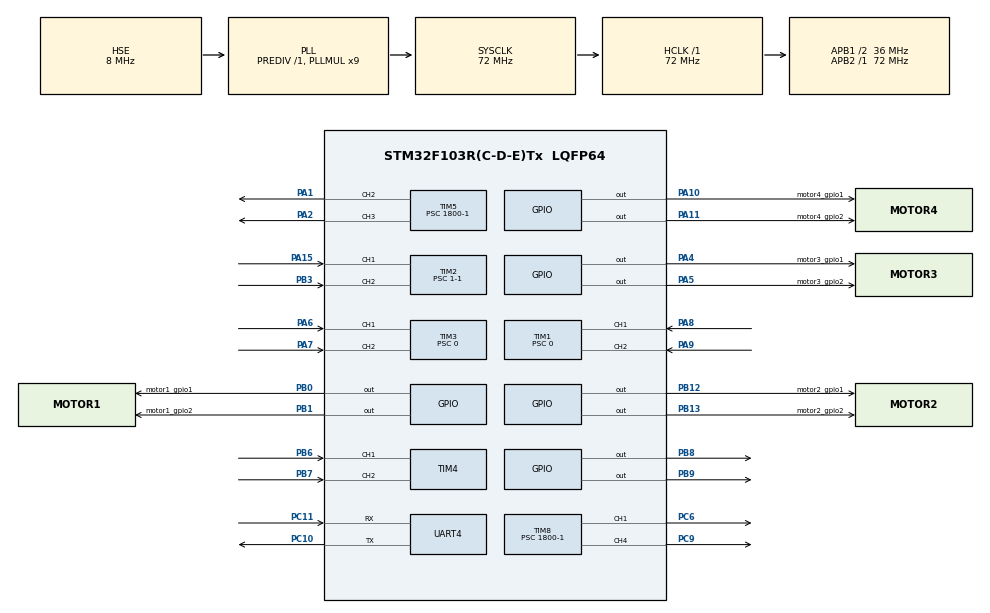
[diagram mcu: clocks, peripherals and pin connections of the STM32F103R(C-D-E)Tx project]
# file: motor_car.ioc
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Mcu.Family=STM32F1
Mcu.Name=STM32F103R(C-D-E)Tx
Mcu.Package=LQFP64
NVIC.PriorityGroup=NVIC_PRIORITYGROUP_4
NVIC.TIM3_IRQn=true\:0\:0\:false\:false\:true\:true\:true\:true
NVIC.TIM6_IRQn=true\:0\:0\:false\:false\:true\:true\:true\:true
NVIC.TIM8_BRK_IRQn=true\:0\:0\:false\:false\:true\:true\:true\:true
NVIC.TIM8_CC_IRQn=true\:0\:0\:false\:false\:true\:true\:true\:true
NVIC.TIM8_TRG_COM_IRQn=true\:0\:0\:false\:false\:true\:true\:true\:true
NVIC.TIM8_UP_IRQn=true\:0\:0\:false\:false\:true\:true\:true\:true
NVIC.UART4_IRQn=true\:0\:0\:false\:false\:true\:true\:true\:true
PA0-WKUP.Mode=SYS_WakeUp0
PA0-WKUP.Signal=SYS_WKUP
PA1.Signal=S_TIM5_CH2
PA10.GPIO_Label=motor4_gpio1
PA10.Signal=GPIO_Output
PA11.GPIO_Label=motor4_gpio2
PA11.Signal=GPIO_Output
PA13.Mode=Serial_Wire
PA13.Signal=SYS_JTMS-SWDIO
PA14.Mode=Serial_Wire
PA14.Signal=SYS_JTCK-SWCLK
PA15.Signal=S_TIM2_CH1_ETR
PA2.Signal=S_TIM5_CH3
PA4.GPIO_Label=motor3_gpio1
PA4.Signal=GPIO_Output
PA5.GPIO_Label=motor3_gpio2
PA5.Signal=GPIO_Output
PA6.Signal=S_TIM3_CH1
PA7.Signal=S_TIM3_CH2
PA8.Signal=S_TIM1_CH1
PA9.Signal=S_TIM1_CH2
PB0.GPIO_Label=motor1_gpio1
PB0.Signal=GPIO_Output
PB1.GPIO_Label=motor1_gpio2
PB1.Signal=GPIO_Output
PB12.GPIO_Label=motor2_gpio1
PB12.Signal=GPIO_Output
PB13.GPIO_Label=motor2_gpio2
PB13.Signal=GPIO_Output
PB3.Signal=S_TIM2_CH2
PB6.Signal=S_TIM4_CH1
PB7.Signal=S_TIM4_CH2
PB8.PinState=GPIO_PIN_SET
PB8.Signal=GPIO_Output
PB9.PinState=GPIO_PIN_SET
PB9.Signal=GPIO_Output
PC10.Mode=Asynchronous
PC10.Signal=UART4_TX
PC11.Mode=Asynchronous
PC11.Signal=UART4_RX
PC6.Signal=S_TIM8_CH1
PC9.Signal=S_TIM8_CH4
PD0-OSC_IN.Mode=HSE-External-Oscillator
PD0-OSC_IN.Signal=RCC_OSC_IN
PD1-OSC_OUT.Mode=HSE-External-Oscillator
PD1-OSC_OUT.Signal=RCC_OSC_OUT
ProjectManager.HeapSize=0x200
ProjectManager.StackSize=0x400
ProjectManager.TargetToolchain=MDK-ARM V5.27
RCC.AHBFreq_Value=72000000
RCC.APB1CLKDivider=RCC_HCLK_DIV2
RCC.APB1Freq_Value=36000000
RCC.APB1TimFreq_Value=72000000
RCC.APB2Freq_Value=72000000
RCC.APB2TimFreq_Value=72000000
RCC.HCLKFreq_Value=72000000
RCC.PLLMUL=RCC_PLL_MUL9
RCC.PLLSourceVirtual=RCC_PLLSOURCE_HSE
RCC.SYSCLKFreq_VALUE=72000000
RCC.SYSCLKSource=RCC_SYSCLKSOURCE_PLLCLK
RCC.USBFreq_Value=72000000
SH.S_TIM1_CH1.0=TIM1_CH1,Encoder_Interface
SH.S_TIM1_CH2.0=TIM1_CH2,Encoder_Interface
SH.S_TIM2_CH1_ETR.0=TIM2_CH1,Encoder_Interface
SH.S_TIM2_CH2.0=TIM2_CH2,Encoder_Interface
SH.S_TIM3_CH1.0=TIM3_CH1,Encoder_Interface
SH.S_TIM3_CH2.0=TIM3_CH2,Encoder_Interface
SH.S_TIM4_CH1.0=TIM4_CH1,Encoder_Interface
SH.S_TIM4_CH2.0=TIM4_CH2,Encoder_Interface
SH.S_TIM5_CH2.0=TIM5_CH2,PWM Generation2 CH2
SH.S_TIM5_CH3.0=TIM5_CH3,PWM Generation3 CH3
SH.S_TIM8_CH1.0=TIM8_CH1,PWM Generation1 CH1
SH.S_TIM8_CH4.0=TIM8_CH4,PWM Generation4 CH4
TIM1.EncoderMode=TIM_ENCODERMODE_TI12
TIM1.Period=65535-1
TIM1.Prescaler=0
TIM2.EncoderMode=TIM_ENCODERMODE_TI12
TIM2.Period=65535-1
TIM2.Prescaler=1-1
TIM3.EncoderMode=TIM_ENCODERMODE_TI12
TIM3.Period=65535-1
TIM3.Prescaler=0
TIM4.EncoderMode=TIM_ENCODERMODE_TI12
TIM5.Channel-PWM\ Generation2\ CH2=TIM_CHANNEL_2
TIM5.Channel-PWM\ Generation3\ CH3=TIM_CHANNEL_3
TIM5.Period=100-1
TIM5.Prescaler=1800-1
TIM5.Pulse-PWM\ Generation2\ CH2=30
TIM5.Pulse-PWM\ Generation3\ CH3=30
TIM6.Period=100-1
TIM6.Prescaler=4500-1
TIM8.Channel-PWM\ Generation1\ CH1=TIM_CHANNEL_1
TIM8.Channel-PWM\ Generation4\ CH4=TIM_CHANNEL_4
TIM8.Period=100-1
TIM8.Prescaler=1800-1
TIM8.Pulse-PWM\ Generation1\ CH1=20
TIM8.Pulse-PWM\ Generation4\ CH4=20
UART4.VirtualMode=Asynchronous
VP_TIM5_VS_ClockSourceINT.Mode=Internal
VP_TIM6_VS_ClockSourceINT.Mode=Enable_Timer
VP_TIM8_VS_ClockSourceINT.Mode=Internal
board=custom

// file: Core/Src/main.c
/* USER CODE BEGIN Header */
/**
  ******************************************************************************
  * @file           : main.c
  * @brief          : Main program body
  ******************************************************************************
  * @attention
  *
  * Copyright (c) 2024 STMicroelectronics.
  * All rights reserved.
  *
  * This software is licensed under terms that can be found in the LICENSE file
  * in the root directory of this software component.
  * If no LICENSE file comes with this software, it is provided AS-IS.
  *
  ******************************************************************************
  */
/* USER CODE END Header */
#include "main.h"
#include "tim.h"
#include "usart.h"
#include "gpio.h"

/* USER CODE BEGIN Includes */
#include "PID.h"
#include "motor.h"
#include "buletooth.h"
#include "oled.h"
#include <stdio.h>
/* USER CODE END Includes */

/* USER CODE BEGIN PTD */
extern chassis_Motor chassis_motor[4];
extern BlueTooth bluetooth;
extern uint8_t Flag;
uint16_t show_counter=0;
INIT_STATUS init_status=DONE;
/* USER CODE END PTD */

void SystemClock_Config(void);

int main(void)
{

  /* MCU Configuration--------------------------------------------------------*/

  /* Reset of all peripherals, Initializes the Flash interface and the Systick. */
  HAL_Init();

  /* Configure the system clock */
  SystemClock_Config();

  /* Initialize all configured peripherals */
  MX_GPIO_Init();
  MX_TIM1_Init();
  MX_TIM2_Init();
  MX_TIM3_Init();
  MX_TIM4_Init();
  MX_TIM5_Init();
  MX_TIM8_Init();
  MX_UART4_Init();
  MX_TIM6_Init();
  /* USER CODE BEGIN 2 */
    OLED_Init();
    HAL_TIM_Base_Start_IT(&htim6);
	HAL_TIM_Base_Start_IT(&htim8);

	HAL_TIM_PWM_Start(&htim5,TIM_CHANNEL_2);
	HAL_TIM_PWM_Start(&htim5,TIM_CHANNEL_3);
	HAL_TIM_PWM_Start(&htim8,TIM_CHANNEL_1);
	HAL_TIM_PWM_Start(&htim8,TIM_CHANNEL_4);
	HAL_TIM_Encoder_Start(&htim1,TIM_CHANNEL_1|TIM_CHANNEL_2);
	HAL_TIM_Encoder_Start(&htim2,TIM_CHANNEL_1|TIM_CHANNEL_2);
	HAL_TIM_Encoder_Start(&htim3,TIM_CHANNEL_1|TIM_CHANNEL_2);
	HAL_TIM_Encoder_Start(&htim4,TIM_CHANNEL_1|TIM_CHANNEL_2);
	clear_PID();
    PID_Struct_Init(&chassis_motor[0].pid,3.1f, 0.00025f, 5.0f,1000,900,init_status);  //
	PID_Struct_Init(&chassis_motor[1].pid,2.1F, 0.00025f, 5.0f,1000,900,init_status);
	PID_Struct_Init(&chassis_motor[2].pid,3.1F, 0.00025f, 5.0f,1000,900,init_status);
	PID_Struct_Init(&chassis_motor[3].pid,2.1F, 0.00025f, 5.0f,1000,900,init_status);
	HAL_UART_Receive_IT(&huart4,&bluetooth.RxByte,1);
	chassis_motor[0].set_angle_speed=0;         //0-575mm/s  //实际上负载最大420，电压不够
	chassis_motor[1].set_angle_speed=0;
	chassis_motor[2].set_angle_speed=0;
	chassis_motor[3].set_angle_speed=0;
	OLED_Clear();
  /* USER CODE END 2 */

  /* Infinite loop */
  /* USER CODE BEGIN WHILE */
  while (1)
  {
	 chassis_movememt();
	  if(Flag)
	  {
	     Encoder_Speed();
		 show_counter++;
	     Flag=0;
       }
	if(show_counter>18)
		{
		     OLED_ShowString(1,2, "M1_speed:");
		OLED_ShowSignedNum(1,11,-chassis_motor[0].real_angle_speed,3);
			 OLED_ShowString(2,2, "M2_speed:");
		OLED_ShowSignedNum(2,11,-chassis_motor[1].real_angle_speed,3);
			 OLED_ShowString(3,2, "M3_speed:");
		OLED_ShowSignedNum(3,11,-chassis_motor[2].real_angle_speed,3);
			 OLED_ShowString(4,2, "M4_speed:");
		OLED_ShowSignedNum(4,11,-chassis_motor[3].real_angle_speed,3);
			show_counter=0;
		}

    /* USER CODE END WHILE */

  }
}

void SystemClock_Config(void)
{
  RCC_OscInitTypeDef RCC_OscInitStruct = {0};
  RCC_ClkInitTypeDef RCC_ClkInitStruct = {0};

  /** Initializes the RCC Oscillators according to the specified parameters
  * in the RCC_OscInitTypeDef structure.
  */
  RCC_OscInitStruct.OscillatorType = RCC_OSCILLATORTYPE_HSE;
  RCC_OscInitStruct.HSEState = RCC_HSE_ON;
  RCC_OscInitStruct.HSEPredivValue = RCC_HSE_PREDIV_DIV1;
  RCC_OscInitStruct.HSIState = RCC_HSI_ON;
  RCC_OscInitStruct.PLL.PLLState = RCC_PLL_ON;
  RCC_OscInitStruct.PLL.PLLSource = RCC_PLLSOURCE_HSE;
  RCC_OscInitStruct.PLL.PLLMUL = RCC_PLL_MUL9;
  if (HAL_RCC_OscConfig(&RCC_OscInitStruct) != HAL_OK)
  {
    Error_Handler();
  }

  /** Initializes the CPU, AHB and APB buses clocks
  */
  RCC_ClkInitStruct.ClockType = RCC_CLOCKTYPE_HCLK|RCC_CLOCKTYPE_SYSCLK
                              |RCC_CLOCKTYPE_PCLK1|RCC_CLOCKTYPE_PCLK2;
  RCC_ClkInitStruct.SYSCLKSource = RCC_SYSCLKSOURCE_PLLCLK;
  RCC_ClkInitStruct.AHBCLKDivider = RCC_SYSCLK_DIV1;
  RCC_ClkInitStruct.APB1CLKDivider = RCC_HCLK_DIV2;
  RCC_ClkInitStruct.APB2CLKDivider = RCC_HCLK_DIV1;

  if (HAL_RCC_ClockConfig(&RCC_ClkInitStruct, FLASH_LATENCY_2) != HAL_OK)
  {
    Error_Handler();
  }
}

void Error_Handler(void)
{
  __disable_irq();
  while (1)
  {
  }
}
